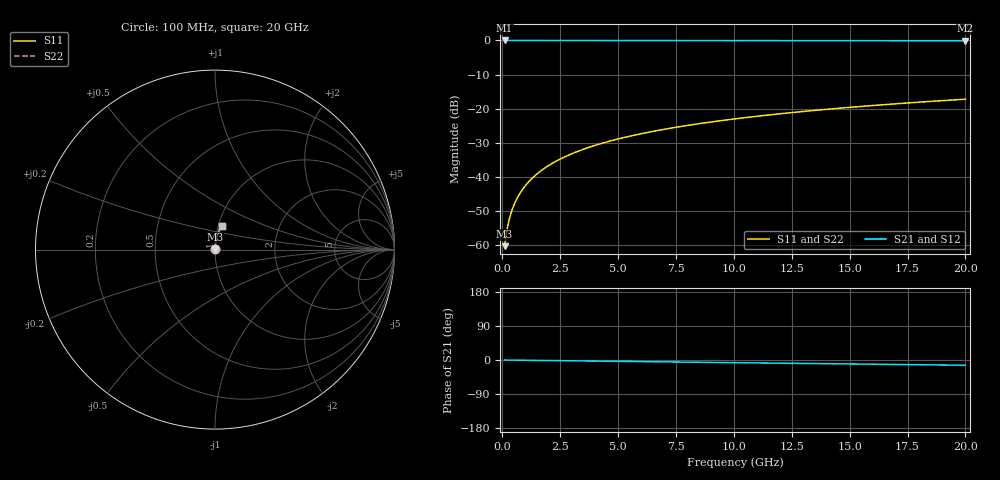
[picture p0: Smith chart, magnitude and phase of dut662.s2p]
! Touchstone file exported from HFSS 2026.1.0
!  File:  C:/ffzhzh/LocalFiles/Ansys_Project_Files/temp_train_TMRDL_662_1783009764_4048.aedt
!  Generated:  12:30:48 AM Jul  3, 2026
!  Design:  TMRDL
!  Project:  temp_train_TMRDL_662_1783009764_4048
! Variables:
!  h_bsmrdl = 2um
!  h_ox = 20um
!  h_rdl = 5um
!  h_sub = 80um
!  h_tmrdl = 5.88um
!  h_tsv = 80um
!  h_via = 3um
!  l_bsmrdl = 300um
!  l_sub = 566.71um
!  l_tmrdl = 166.71um
!  m_sub = 200um
!  pitch = 53.2um
!  r_tsv = 6um
!  s_tmrdl = 10um
!  w_bsmrdl = 18um
!  w_sub = 500um
!  w_tmrdl = 23.85um
!  x_tsv_center1 = 178.635um
!  x_tsv_center2 = 496.635um
!  x_tsv_center3 = 687.195um
!  x_tsv_center4 = 1005.195um
!  x_tsv_center5 = 1195.755um
!  x_tsv_center6 = 1513.755um
# GHz S MA R 50.000000
! Terminal data exported
! Port[1] = TM_RDL1_1_T1
! Port[2] = TM_RDL1_1_T2
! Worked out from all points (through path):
!   200 points, 100 MHz to 20 GHz, reference 50 ohm
!   highest |S21| = 0.00 dB at 100 MHz (marker M1); lowest = -0.1 dB at 20 GHz (marker M2)
!   group delay of S21, straight-line fit = 1.92 ps
!   lowest |S11| = -60.3 dB at 100 MHz (marker M3), VSWR 1.00, Z = 50.1 + j0.0792 ohm
!   |S11| at or under -10 dB: start of sweep to end of sweep
!   |S22| runs from -60.3 to -17.2 dB; largest |S21 - S12| = 3.2e-15
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0.1  0.0009703 54.6  0.9994 -0.1  0.9994 -0.1  0.0009703 54.6
! Gamma 0 0 0 0
! Port Impedance 50 0 50 0
0.2  0.001678 69.1  0.9994 -0.1  0.9994 -0.1  0.001678 69.1
0.3  0.002412 74.5  0.9994 -0.2  0.9994 -0.2  0.002412 74.5
0.4  0.003142 77.3  0.9993 -0.3  0.9993 -0.3  0.003142 77.3
0.5  0.003868 79.1  0.9993 -0.4  0.9993 -0.4  0.003868 79.1
0.7  0.005313 81.3  0.9992 -0.5  0.9992 -0.5  0.005313 81.3
0.8  0.006036 82.0  0.9992 -0.6  0.9992 -0.6  0.006036 82.0
1  0.007482 83.0  0.9991 -0.7  0.9991 -0.7  0.007482 83.0
1.2  0.008929 83.6  0.9991 -0.9  0.9991 -0.9  0.008929 83.6
1.4  0.01038 84.1  0.999 -1.0  0.999 -1.0  0.01038 84.1
1.7  0.01255 84.5  0.999 -1.2  0.999 -1.2  0.01255 84.5
2  0.01472 84.7  0.9989 -1.4  0.9989 -1.4  0.01472 84.7
2.7  0.01976 84.7  0.9986 -1.9  0.9986 -1.9  0.01976 84.7
3.5  0.02547 84.5  0.9983 -2.5  0.9983 -2.5  0.02547 84.5
4.2  0.03043 84.2  0.9981 -3.0  0.9981 -3.0  0.03043 84.2
5  0.03606 83.8  0.9977 -3.5  0.9977 -3.5  0.03606 83.8
6.8  0.04862 82.9  0.9968 -4.8  0.9968 -4.8  0.04862 82.9
8.3  0.05901 82.0  0.9961 -5.8  0.9961 -5.8  0.05901 82.0
10.1  0.0714 81.0  0.995 -7.1  0.995 -7.1  0.0714 81.0
13.4  0.09391 78.9  0.9928 -9.4  0.9928 -9.4  0.09391 78.9
16.7  0.1161 76.8  0.9901 -11.6  0.9901 -11.6  0.1161 76.8
20  0.1379 74.7  0.987 -13.9  0.987 -13.9  0.1379 74.7
